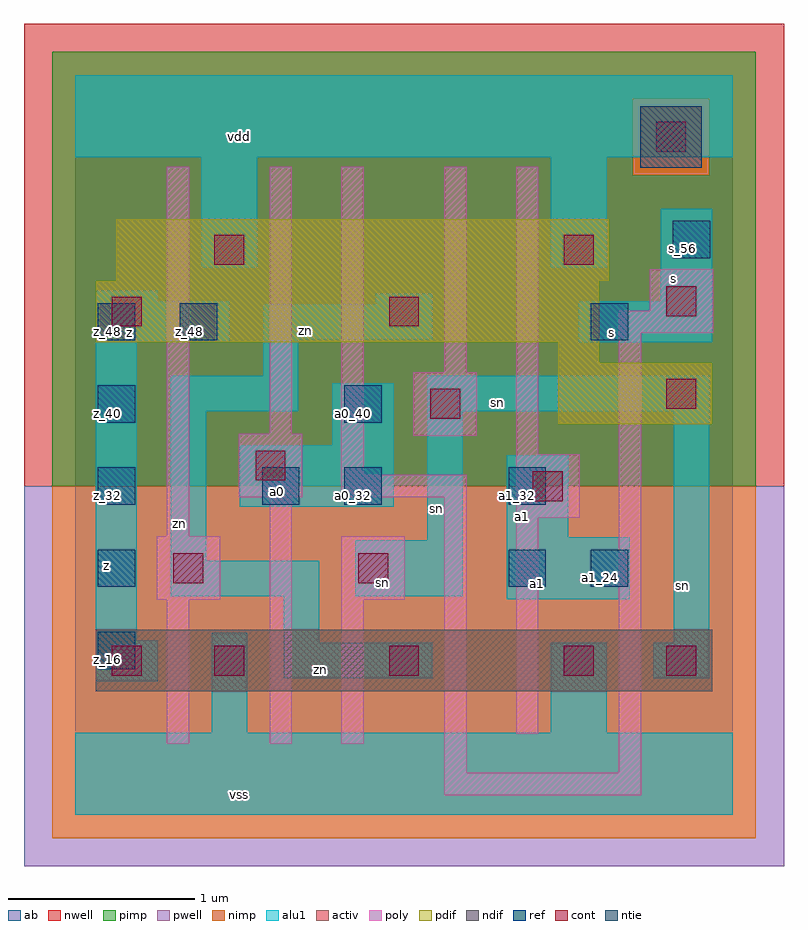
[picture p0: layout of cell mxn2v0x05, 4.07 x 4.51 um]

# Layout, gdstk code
import gdstk
lib = gdstk.Library(unit=1e-6, precision=2.5e-09)
def R(c, l, rs):  # rectangles x0, y0, x1, y1
    for r in rs: c.add(gdstk.rectangle(r[:2], r[2:], *l))
def A(c, l, x, y, w, h, nx, ny, dx, dy):  # array of equal rectangles
    R(c, l, [(x+i*dx, y+j*dy, x+i*dx+w, y+j*dy+h) for i in range(nx) for j in range(ny)])
ndif = (3, 0)
pdif = (4, 0)
ntie = (5, 0)
ref = (24, 0)
cont = (25, 0)
pwell = (41, 0)
nwell = (42, 0)
activ = (43, 0)
pimp = (44, 0)
nimp = (45, 0)
poly = (46, 0)
alu1 = (49, 0)
ab = (63, 0)

mxn2v0x05 = lib.new_cell('mxn2v0x05')
R(mxn2v0x05, ndif, [(0.11,0.66,3.41,0.99)])
R(mxn2v0x05, pdif, [(2.585,2.09,3.41,2.42), (2.585,2.42,2.805,2.53), (0.11,2.53,2.805,2.86), (0.22,2.86,2.86,3.19)])
R(mxn2v0x05, ntie, [(3.025,3.465,3.355,3.795)])
A(mxn2v0x05, ref, 0.12, 0.78, 0.2, 0.2, 1, 5, 0, 0.44)
R(mxn2v0x05, ref, [(2.32,1.22,2.52,1.42), (2.76,1.22,2.96,1.42), (1,1.66,1.2,1.86), (1.44,1.66,1.64,1.86), (2.32,1.66,2.52,1.86), (1.44,2.1,1.64,2.3), (0.56,2.54,0.76,2.74), (2.76,2.54,2.96,2.74), (3.2,2.98,3.4,3.18)])
A(mxn2v0x05, cont, 0.745, 0.745, 0.16, 0.16, 3, 1, 0.935, 0)
R(mxn2v0x05, cont, [(0.195,0.745,0.355,0.905), (3.165,0.745,3.325,0.905), (0.525,1.24,0.685,1.4), (1.515,1.24,1.675,1.4), (2.45,1.68,2.61,1.84), (0.965,1.79,1.125,1.95), (1.9,2.12,2.06,2.28), (3.165,2.175,3.325,2.335), (0.195,2.615,0.355,2.775), (1.68,2.615,1.84,2.775), (3.165,2.67,3.325,2.83), (0.745,2.945,0.905,3.105), (2.615,2.945,2.775,3.105), (3.11,3.55,3.27,3.71)])
R(mxn2v0x05, pwell, [(-0.275,-0.275,3.795,1.76)])
R(mxn2v0x05, nwell, [(-0.275,1.76,3.795,4.235)])
R(mxn2v0x05, activ, [(0.11,0.66,3.41,0.99), (2.585,2.09,3.41,2.42), (2.585,2.42,2.805,2.53), (0.11,2.53,2.805,2.86), (0.22,2.86,2.86,3.19), (3.025,3.465,3.355,3.795)])
R(mxn2v0x05, pimp, [(-0.125,1.76,3.645,3.425), (-0.125,3.425,2.985,3.835), (3.395,3.425,3.645,3.835), (-0.125,3.835,3.645,4.085)])
R(mxn2v0x05, nimp, [(-0.125,-0.125,3.645,1.76), (2.985,3.425,3.395,3.835)])
R(mxn2v0x05, poly, [(1.975,0.105,3.03,0.225), (1.975,0.225,2.095,1.7), (2.91,0.225,3.03,2.58), (0.49,0.38,0.61,1.15), (1.04,0.38,1.16,1.7), (1.425,0.38,1.545,1.15), (2.36,0.435,2.48,1.59), (0.435,1.15,0.775,1.49), (1.425,1.15,1.765,1.49), (0.49,1.49,0.61,3.47), (2.36,1.59,2.7,1.93), (0.875,1.7,1.215,2.04), (1.425,1.7,2.095,1.82), (1.425,1.82,1.545,3.47), (2.36,1.93,2.48,3.47), (1.81,2.03,2.15,2.37), (1.04,2.04,1.16,3.47), (1.975,2.37,2.095,3.47), (2.91,2.58,3.415,2.7), (3.075,2.7,3.415,2.92)])
R(mxn2v0x05, alu1, [(0,0,3.52,0.44), (0.73,0.44,0.92,0.975), (2.545,0.44,2.845,0.92), (0.11,0.715,0.44,0.935), (1.115,0.73,1.91,0.92), (3.095,0.73,3.395,0.92), (1.115,0.92,1.305,1.17), (3.205,0.92,3.395,2.16), (0.11,0.935,0.33,2.53), (2.31,1.155,2.97,1.485), (0.51,1.17,1.305,1.36), (1.5,1.17,2.075,1.47), (0.51,1.36,0.7,2.16), (1.885,1.47,2.075,2.16), (2.31,1.485,2.64,1.925), (0.88,1.65,1.705,1.98), (1.375,1.98,1.705,2.31), (0.51,2.16,1.195,2.35), (1.885,2.16,3.395,2.35), (1.005,2.35,1.195,2.545), (0.11,2.53,0.825,2.75), (2.695,2.53,3.41,2.75), (1.005,2.545,1.91,2.735), (1.61,2.735,1.91,2.79), (0.11,2.75,0.44,2.805), (3.135,2.75,3.41,3.245), (0.675,2.93,0.975,3.52), (2.545,2.93,2.845,3.52), (0,3.52,3.52,3.96)])
R(mxn2v0x05, ab, [(0,0,3.52,3.96)])
mxn2v0x05.add(gdstk.Label('vss', (0.88,0.11), layer=49, texttype=0))
mxn2v0x05.add(gdstk.Label('zn', (1.3125,0.7775), layer=49, texttype=0))
mxn2v0x05.add(gdstk.Label('sn', (3.2525,1.23), layer=49, texttype=0))
mxn2v0x05.add(gdstk.Label('a1', (2.475,1.2375), layer=49, texttype=0))
mxn2v0x05.add(gdstk.Label('a1', (2.3925,1.595), layer=49, texttype=0))
mxn2v0x05.add(gdstk.Label('sn', (1.6425,1.245), layer=49, texttype=0))
mxn2v0x05.add(gdstk.Label('sn', (1.9325,1.6425), layer=49, texttype=0))
mxn2v0x05.add(gdstk.Label('sn', (2.2625,2.2075), layer=49, texttype=0))
mxn2v0x05.add(gdstk.Label('a0', (1.085,1.7325), layer=49, texttype=0))
mxn2v0x05.add(gdstk.Label('zn', (0.5575,1.56), layer=49, texttype=0))
mxn2v0x05.add(gdstk.Label('s', (2.8725,2.585), layer=49, texttype=0))
mxn2v0x05.add(gdstk.Label('z', (0.165,1.3325), layer=49, texttype=0))
mxn2v0x05.add(gdstk.Label('zn', (1.23,2.5925), layer=49, texttype=0))
mxn2v0x05.add(gdstk.Label('s', (3.2025,2.8725), layer=49, texttype=0))
mxn2v0x05.add(gdstk.Label('z', (0.2875,2.585), layer=49, texttype=0))
mxn2v0x05.add(gdstk.Label('vdd', (0.88,3.63), layer=49, texttype=0))
mxn2v0x05.add(gdstk.Label('a0_32', (1.05,1.71), layer=24, texttype=0))
mxn2v0x05.add(gdstk.Label('a0_40', (1.49,2.15), layer=24, texttype=0))
mxn2v0x05.add(gdstk.Label('s_56', (3.25,3.03), layer=24, texttype=0))
mxn2v0x05.add(gdstk.Label('z_24', (0.17,1.27), layer=24, texttype=0))
mxn2v0x05.add(gdstk.Label('z_16', (0.17,0.83), layer=24, texttype=0))
mxn2v0x05.add(gdstk.Label('z_32', (0.17,1.71), layer=24, texttype=0))
mxn2v0x05.add(gdstk.Label('z_40', (0.17,2.15), layer=24, texttype=0))
mxn2v0x05.add(gdstk.Label('z_48', (0.17,2.59), layer=24, texttype=0))
mxn2v0x05.add(gdstk.Label('a1_32', (2.37,1.71), layer=24, texttype=0))
mxn2v0x05.add(gdstk.Label('a1_24', (2.37,1.27), layer=24, texttype=0))
mxn2v0x05.add(gdstk.Label('a1_24', (2.81,1.27), layer=24, texttype=0))
mxn2v0x05.add(gdstk.Label('s_48', (2.81,2.59), layer=24, texttype=0))
mxn2v0x05.add(gdstk.Label('z_48', (0.61,2.59), layer=24, texttype=0))
mxn2v0x05.add(gdstk.Label('a0_32', (1.49,1.71), layer=24, texttype=0))

lib.write_gds('mxn2v0x05.gds')
